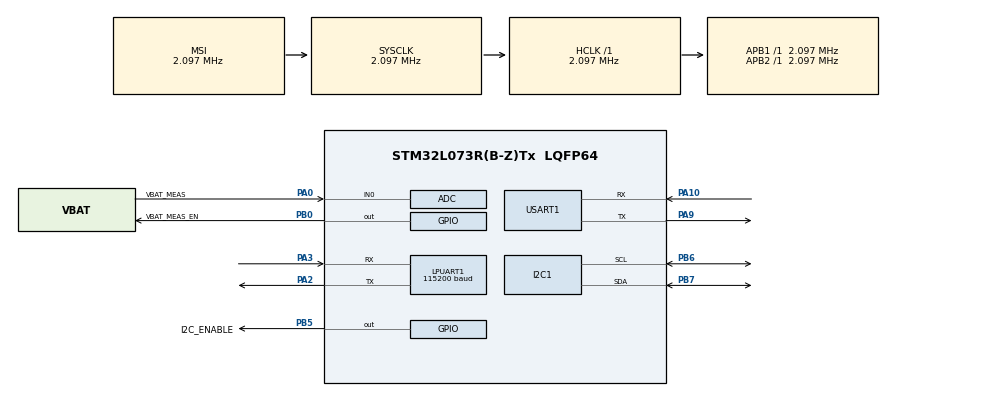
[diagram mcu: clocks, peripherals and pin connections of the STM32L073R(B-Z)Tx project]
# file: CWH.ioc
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ADC.SamplingTime=ADC_SAMPLETIME_160CYCLES_5
I2C1.Timing=0x00000608
LPUART1.BaudRate=115200
LPUART1.WordLength=UART_WORDLENGTH_8B
Mcu.Family=STM32L0
Mcu.Name=STM32L073R(B-Z)Tx
Mcu.Package=LQFP64
PA0.GPIO_Label=VBAT_MEAS
PA0.Mode=IN0
PA0.Signal=ADC_IN0
PA10.Mode=Asynchronous
PA10.Signal=USART1_RX
PA2.Mode=Asynchronous
PA2.Signal=LPUART1_TX
PA3.Mode=Asynchronous
PA3.Signal=LPUART1_RX
PA9.Mode=Asynchronous
PA9.Signal=USART1_TX
PB0.GPIO_Label=VBAT_MEAS_EN
PB0.PinState=GPIO_PIN_SET
PB0.Signal=GPIO_Output
PB1.Mode=VREFINT_ADC_PB1
PB1.Signal=SYS_VREF_OUT_PB1
PB5.GPIO_Label=I2C_ENABLE
PB5.PinState=GPIO_PIN_RESET
PB5.Signal=GPIO_Output
PB6.Mode=I2C
PB6.Signal=I2C1_SCL
PB7.Mode=I2C
PB7.Signal=I2C1_SDA
ProjectManager.HeapSize=0x200
ProjectManager.StackSize=0x400
ProjectManager.TargetToolchain=STM32CubeIDE
RCC.AHBFreq_Value=2097000
RCC.APB1Freq_Value=2097000
RCC.APB1TimFreq_Value=2097000
RCC.APB2Freq_Value=2097000
RCC.APB2TimFreq_Value=2097000
RCC.HSE_VALUE=8000000
RCC.HSI16_VALUE=16000000
RCC.HSI48_VALUE=48000000
RCC.HSI_VALUE=16000000
RCC.LSE_VALUE=32768
RCC.MSI_VALUE=2097000
RCC.SYSCLKFreq_VALUE=2097000
RCC.VCOOutputFreq_Value=48000000
USART1.VirtualMode-Asynchronous=VM_ASYNC
VP_ADC_TempSens_Input.Mode=IN-TempSens
VP_ADC_Vref_Input.Mode=IN-Vrefint
VP_RTC_VS_RTC_Activate.Mode=RTC_Enabled
VP_SYS_V_PVD_IN.Mode=Mode_PVD_Int
board=custom

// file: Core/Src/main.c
/* USER CODE BEGIN Header */
/**
 ******************************************************************************
 * @file           : main.c
 * @brief          : Main program body
 ******************************************************************************
 * @attention
 *
 * Copyright (c) 2025 STMicroelectronics.
 * All rights reserved.
 *
 * This software is licensed under terms that can be found in the LICENSE file
 * in the root directory of this software component.
 * If no LICENSE file comes with this software, it is provided AS-IS.
 *
 ******************************************************************************
 */
/* USER CODE END Header */
#include "main.h"

/* USER CODE BEGIN Includes */
#include <stdio.h>
#include <stdarg.h>
#include <string.h>
#include <stdbool.h> // For bool, true, false
#include "sensirion/sensirion.h"
#include "LoRaWAN/lorawan.h"
#include "battery/battery.h"
#include "utils/sensor_payload.h"
#include "stm32l0xx_hal.h"
#include "sleep/sleep.h"
/* USER CODE END Includes */

/* USER CODE BEGIN PD */
#define AT_RESPONSE_BUFFER_SIZE 256
#define DEV_EUI_LENGTH 16
#define APP_EUI_LENGTH 16
#define APP_KEY_LENGTH 32
#define AS923_1_FREQ_MIN 923200000
#define AS923_1_FREQ_MAX 923400000
#define DEFAULT_FREQ 923200000
#define JAPAN_REGION 9
#define TTN_SUBBAND_CHANNEL 0
#define TX_POWER 11
#define DATA_RATE 0
#define JOIN_TIMEOUT_MS 10000

// I2C DEFINES
#define SHT40_I2C_ADDR (0x44 << 1)        // SHT40 I2C address (shifted for HAL)
#define SHT40_MEASURE_HIGH_PRECISION 0xFD // High-precision measurement command
#define TIMEOUT 100                       // I2C timeout in ms

/* USER CODE END PD */

ADC_HandleTypeDef hadc;

I2C_HandleTypeDef hi2c1;

UART_HandleTypeDef hlpuart1;
UART_HandleTypeDef huart1;

RTC_HandleTypeDef hrtc;

/* USER CODE BEGIN PV */
static ATC_HandleTypeDef lora;
int16_t UPLINK_COUNT = 0;
/* USER CODE END PV */

void SystemClock_Config(void);
static void MX_GPIO_Init(void);
static void MX_I2C1_Init(void);
static void MX_USART1_UART_Init(void);
static void MX_RTC_Init(void);
static void MX_LPUART1_UART_Init(void);
static void MX_ADC_Init(void);
/* USER CODE BEGIN PFP */
void ConsolePrintf(const char *format, ...);
/* USER CODE END PFP */

int main(void)
{

  /* MCU Configuration--------------------------------------------------------*/

  /* Reset of all peripherals, Initializes the Flash interface and the Systick. */
  HAL_Init();

  /* USER CODE BEGIN Init */
  HAL_Delay(6000);
  /* USER CODE END Init */

  /* Configure the system clock */
  SystemClock_Config();

  /* Initialize all configured peripherals */
  MX_GPIO_Init();
  MX_I2C1_Init();
  MX_USART1_UART_Init();
  MX_RTC_Init();
  MX_LPUART1_UART_Init();
  MX_ADC_Init();
  /* USER CODE BEGIN 2 */
  RTC_WakeUp_Init();
  LoRaWAN_Join(&lora);
  LoRaWAN_UpdateBattery(&lora);
  /* USER CODE END 2 */

  /* Infinite loop */
  while (1)
  {

    /* USER CODE BEGIN 3 */
	  enter_sleep_mode();
	  LoRaWAN_Error_t isConnected = LoRaWAN_Join_Status(&lora);
	  if (isConnected == LORAWAN_ERROR_OK)
	  {
	  	UPLINK_COUNT++;
	  	if (UPLINK_COUNT > 4464)
	  	{
			UPLINK_COUNT = 0;
	    	LoRaWAN_UpdateBattery(&lora);
		}
		I2C_Error_t i2c_result = sensor_init_and_read();
		uint8_t payload[3];
		if (i2c_result == I2C_ERROR_OK)
		{
			payload[0] = (uint8_t)(calculated_temp >> 8);
			payload[1] = (uint8_t)(calculated_temp & 0xFF);
			payload[2] = calculated_hum;
			LoRaWAN_SendHexOnPort(&lora, 1, payload, sizeof(payload));
		}
		else if (i2c_result == I2C_ERROR_SENSORS_TOO_DIFFERENT)
		{
		  uint8_t payload[3];
		  payload[0] = (uint8_t)(temp_delta >> 8);
		  payload[1] = (uint8_t)(temp_delta & 0xFF);
		  LoRaWAN_SendHexOnPort(&lora, 6, payload, sizeof(payload));
		}
		else
		{
			uint8_t payload[3];
			payload[0] = 255;
			payload[1] = 255;
			payload[2] = 255;
			LoRaWAN_SendHexOnPort(&lora, 6, payload, sizeof(payload));
		}
	}
	else
	{
		ConsolePrintf("I am not joined, trying to join again...\r\n");
		LoRaWAN_Join(&lora);
	}

	// CRITICAL: Prepare for next sleep cycle after all operations complete
	prepare_for_next_sleep();
  }
  /* USER CODE END 3 */
}

void SystemClock_Config(void)
{
  RCC_OscInitTypeDef RCC_OscInitStruct = {0};
  RCC_ClkInitTypeDef RCC_ClkInitStruct = {0};
  RCC_PeriphCLKInitTypeDef PeriphClkInit = {0};

  /** Configure the main internal regulator output voltage
  */
  __HAL_PWR_VOLTAGESCALING_CONFIG(PWR_REGULATOR_VOLTAGE_SCALE1);

  /** Initializes the RCC Oscillators according to the specified parameters
  * in the RCC_OscInitTypeDef structure.
  */
  RCC_OscInitStruct.OscillatorType = RCC_OSCILLATORTYPE_LSI|RCC_OSCILLATORTYPE_MSI;
  RCC_OscInitStruct.LSIState = RCC_LSI_ON;
  RCC_OscInitStruct.MSIState = RCC_MSI_ON;
  RCC_OscInitStruct.MSICalibrationValue = 0;
  RCC_OscInitStruct.MSIClockRange = RCC_MSIRANGE_5;
  RCC_OscInitStruct.PLL.PLLState = RCC_PLL_NONE;
  if (HAL_RCC_OscConfig(&RCC_OscInitStruct) != HAL_OK)
  {
    Error_Handler();
  }

  /** Initializes the CPU, AHB and APB buses clocks
  */
  RCC_ClkInitStruct.ClockType = RCC_CLOCKTYPE_HCLK|RCC_CLOCKTYPE_SYSCLK
                              |RCC_CLOCKTYPE_PCLK1|RCC_CLOCKTYPE_PCLK2;
  RCC_ClkInitStruct.SYSCLKSource = RCC_SYSCLKSOURCE_MSI;
  RCC_ClkInitStruct.AHBCLKDivider = RCC_SYSCLK_DIV1;
  RCC_ClkInitStruct.APB1CLKDivider = RCC_HCLK_DIV1;
  RCC_ClkInitStruct.APB2CLKDivider = RCC_HCLK_DIV1;

  if (HAL_RCC_ClockConfig(&RCC_ClkInitStruct, FLASH_LATENCY_0) != HAL_OK)
  {
    Error_Handler();
  }
  PeriphClkInit.PeriphClockSelection = RCC_PERIPHCLK_USART1|RCC_PERIPHCLK_LPUART1
                              |RCC_PERIPHCLK_I2C1|RCC_PERIPHCLK_RTC;
  PeriphClkInit.Usart1ClockSelection = RCC_USART1CLKSOURCE_PCLK2;
  PeriphClkInit.Lpuart1ClockSelection = RCC_LPUART1CLKSOURCE_PCLK1;
  PeriphClkInit.I2c1ClockSelection = RCC_I2C1CLKSOURCE_PCLK1;
  PeriphClkInit.RTCClockSelection = RCC_RTCCLKSOURCE_LSI;
  if (HAL_RCCEx_PeriphCLKConfig(&PeriphClkInit) != HAL_OK)
  {
    Error_Handler();
  }
}

static void MX_ADC_Init(void)
{

  ADC_ChannelConfTypeDef sConfig = {0};

  /** Configure the global features of the ADC (Clock, Resolution, Data Alignment and number of conversion)
  */
  hadc.Instance = ADC1;
  hadc.Init.OversamplingMode = DISABLE;
  hadc.Init.ClockPrescaler = ADC_CLOCK_SYNC_PCLK_DIV1;
  hadc.Init.Resolution = ADC_RESOLUTION_12B;
  hadc.Init.SamplingTime = ADC_SAMPLETIME_160CYCLES_5;
  hadc.Init.ScanConvMode = ADC_SCAN_DIRECTION_FORWARD;
  hadc.Init.DataAlign = ADC_DATAALIGN_RIGHT;
  hadc.Init.ContinuousConvMode = DISABLE;
  hadc.Init.DiscontinuousConvMode = DISABLE;
  hadc.Init.ExternalTrigConvEdge = ADC_EXTERNALTRIGCONVEDGE_NONE;
  hadc.Init.ExternalTrigConv = ADC_SOFTWARE_START;
  hadc.Init.DMAContinuousRequests = DISABLE;
  hadc.Init.EOCSelection = ADC_EOC_SINGLE_CONV;
  hadc.Init.Overrun = ADC_OVR_DATA_PRESERVED;
  hadc.Init.LowPowerAutoWait = DISABLE;
  hadc.Init.LowPowerFrequencyMode = ENABLE;
  hadc.Init.LowPowerAutoPowerOff = DISABLE;
  if (HAL_ADC_Init(&hadc) != HAL_OK)
  {
    Error_Handler();
  }

  /** Configure for the selected ADC regular channel to be converted.
  */
  sConfig.Channel = ADC_CHANNEL_0;
  sConfig.Rank = ADC_RANK_CHANNEL_NUMBER;
  if (HAL_ADC_ConfigChannel(&hadc, &sConfig) != HAL_OK)
  {
    Error_Handler();
  }

  /** Configure for the selected ADC regular channel to be converted.
  */
  sConfig.Channel = ADC_CHANNEL_TEMPSENSOR;
  if (HAL_ADC_ConfigChannel(&hadc, &sConfig) != HAL_OK)
  {
    Error_Handler();
  }

  /** Configure for the selected ADC regular channel to be converted.
  */
  sConfig.Channel = ADC_CHANNEL_VREFINT;
  if (HAL_ADC_ConfigChannel(&hadc, &sConfig) != HAL_OK)
  {
    Error_Handler();
  }

}

static void MX_I2C1_Init(void)
{

  hi2c1.Instance = I2C1;
  hi2c1.Init.Timing = 0x00000608;
  hi2c1.Init.OwnAddress1 = 0;
  hi2c1.Init.AddressingMode = I2C_ADDRESSINGMODE_7BIT;
  hi2c1.Init.DualAddressMode = I2C_DUALADDRESS_DISABLE;
  hi2c1.Init.OwnAddress2 = 0;
  hi2c1.Init.OwnAddress2Masks = I2C_OA2_NOMASK;
  hi2c1.Init.GeneralCallMode = I2C_GENERALCALL_DISABLE;
  hi2c1.Init.NoStretchMode = I2C_NOSTRETCH_DISABLE;
  if (HAL_I2C_Init(&hi2c1) != HAL_OK)
  {
    Error_Handler();
  }

  /** Configure Analogue filter
  */
  if (HAL_I2CEx_ConfigAnalogFilter(&hi2c1, I2C_ANALOGFILTER_ENABLE) != HAL_OK)
  {
    Error_Handler();
  }

  /** Configure Digital filter
  */
  if (HAL_I2CEx_ConfigDigitalFilter(&hi2c1, 0) != HAL_OK)
  {
    Error_Handler();
  }

}

static void MX_LPUART1_UART_Init(void)
{

  hlpuart1.Instance = LPUART1;
  hlpuart1.Init.BaudRate = 115200;
  hlpuart1.Init.WordLength = UART_WORDLENGTH_8B;
  hlpuart1.Init.StopBits = UART_STOPBITS_1;
  hlpuart1.Init.Parity = UART_PARITY_NONE;
  hlpuart1.Init.Mode = UART_MODE_TX_RX;
  hlpuart1.Init.HwFlowCtl = UART_HWCONTROL_NONE;
  hlpuart1.Init.OneBitSampling = UART_ONE_BIT_SAMPLE_DISABLE;
  hlpuart1.AdvancedInit.AdvFeatureInit = UART_ADVFEATURE_NO_INIT;
  if (HAL_UART_Init(&hlpuart1) != HAL_OK)
  {
    Error_Handler();
  }
  /* USER CODE BEGIN LPUART1_Init 2 */
  lora.huart = &hlpuart1;
  /* USER CODE END LPUART1_Init 2 */

}

static void MX_USART1_UART_Init(void)
{

  huart1.Instance = USART1;
  huart1.Init.BaudRate = 115200;
  huart1.Init.WordLength = UART_WORDLENGTH_8B;
  huart1.Init.StopBits = UART_STOPBITS_1;
  huart1.Init.Parity = UART_PARITY_NONE;
  huart1.Init.Mode = UART_MODE_TX_RX;
  huart1.Init.HwFlowCtl = UART_HWCONTROL_NONE;
  huart1.Init.OverSampling = UART_OVERSAMPLING_16;
  huart1.Init.OneBitSampling = UART_ONE_BIT_SAMPLE_DISABLE;
  huart1.AdvancedInit.AdvFeatureInit = UART_ADVFEATURE_NO_INIT;
  if (HAL_UART_Init(&huart1) != HAL_OK)
  {
    Error_Handler();
  }
  /* USER CODE BEGIN USART1_Init 2 */
  ConsolePrintf("USART1 (DBG) Cnfigured\r\n");
  /* USER CODE END USART1_Init 2 */

}

static void MX_RTC_Init(void)
{

  /** Initialize RTC Only
  */
  hrtc.Instance = RTC;
  hrtc.Init.HourFormat = RTC_HOURFORMAT_24;
  hrtc.Init.AsynchPrediv = 127;
  hrtc.Init.SynchPrediv = 255;
  hrtc.Init.OutPut = RTC_OUTPUT_DISABLE;
  hrtc.Init.OutPutRemap = RTC_OUTPUT_REMAP_NONE;
  hrtc.Init.OutPutPolarity = RTC_OUTPUT_POLARITY_HIGH;
  hrtc.Init.OutPutType = RTC_OUTPUT_TYPE_OPENDRAIN;
  if (HAL_RTC_Init(&hrtc) != HAL_OK)
  {
    Error_Handler();
  }

}

static void MX_GPIO_Init(void)
{
  GPIO_InitTypeDef GPIO_InitStruct = {0};

  /* GPIO Ports Clock Enable */
  __HAL_RCC_GPIOA_CLK_ENABLE();
  __HAL_RCC_GPIOB_CLK_ENABLE();

  /*Configure GPIO pin Output Level */
  HAL_GPIO_WritePin(VBAT_MEAS_EN_GPIO_Port, VBAT_MEAS_EN_Pin, GPIO_PIN_SET);

  /*Configure GPIO pin Output Level */
  HAL_GPIO_WritePin(I2C_ENABLE_GPIO_Port, I2C_ENABLE_Pin, GPIO_PIN_RESET);

  /*Configure GPIO pins : VBAT_MEAS_EN_Pin I2C_ENABLE_Pin */
  GPIO_InitStruct.Pin = VBAT_MEAS_EN_Pin|I2C_ENABLE_Pin;
  GPIO_InitStruct.Mode = GPIO_MODE_OUTPUT_PP;
  GPIO_InitStruct.Pull = GPIO_NOPULL;
  GPIO_InitStruct.Speed = GPIO_SPEED_FREQ_LOW;
  HAL_GPIO_Init(GPIOB, &GPIO_InitStruct);

  /*Configure GPIO pin : PB1 */
  GPIO_InitStruct.Pin = GPIO_PIN_1;
  GPIO_InitStruct.Mode = GPIO_MODE_ANALOG;
  GPIO_InitStruct.Pull = GPIO_NOPULL;
  HAL_GPIO_Init(GPIOB, &GPIO_InitStruct);

}

/* USER CODE BEGIN 4 */
// Wrapper functions for sleep module to access static initialization functions
void SystemClock_Config_Wrapper(void) {
    SystemClock_Config();
}

void MX_GPIO_Init_Wrapper(void) {
    MX_GPIO_Init();
}

void MX_I2C1_Init_Wrapper(void) {
    MX_I2C1_Init();
}

void MX_USART1_UART_Init_Wrapper(void) {
    MX_USART1_UART_Init();
}

void MX_LPUART1_UART_Init_Wrapper(void) {
    MX_LPUART1_UART_Init();
}

void MX_ADC_Init_Wrapper(void) {
    MX_ADC_Init();
}

void ConsolePrintf(const char *format, ...)
{
  char buffer[128];          // Buffer for the original message
  char timestamp_buffer[32]; // Buffer for timestamp
  char final_buffer[160];    // Combined buffer (timestamp + message)

  // Get time and date from RTC
  RTC_DateTypeDef date;
  RTC_TimeTypeDef time;
  HAL_RTC_GetTime(&hrtc, &time, RTC_FORMAT_BIN);
  HAL_RTC_GetDate(&hrtc, &date, RTC_FORMAT_BIN);

  // Format timestamp as [YYYY-MM-DD HH:MM:SS]
  snprintf(timestamp_buffer, sizeof(timestamp_buffer), "[20%02d-%02d-%02d %02d:%02d:%02d] ",
           date.Year, date.Month, date.Date,
           time.Hours, time.Minutes, time.Seconds);

  // Format the original message
  va_list args;
  va_start(args, format);
  vsnprintf(buffer, sizeof(buffer), format, args);
  va_end(args);

  // Combine timestamp and message
  snprintf(final_buffer, sizeof(final_buffer), "%s%s", timestamp_buffer, buffer);

  // Transmit the combined message
  HAL_UART_Transmit(&huart1, (uint8_t *)final_buffer, strlen(final_buffer), HAL_MAX_DELAY);
}
// Add this function to your main.c for even more power savings
void configure_system_for_ultra_low_power(void)
{
    // Configure unused pins as analog inputs
    configure_gpio_for_low_power();

    // Disable VREFINT when not needed (already done with ULP mode)
    // This is handled by HAL_PWREx_EnableUltraLowPower()

    // Consider using HSI16 instead of MSI if applicable for your timing requirements
    // MSI can be more power efficient at very low speeds
}
/* USER CODE END 4 */

void Error_Handler(void)
{
  __disable_irq();
  while (1)
  {
  }
}
